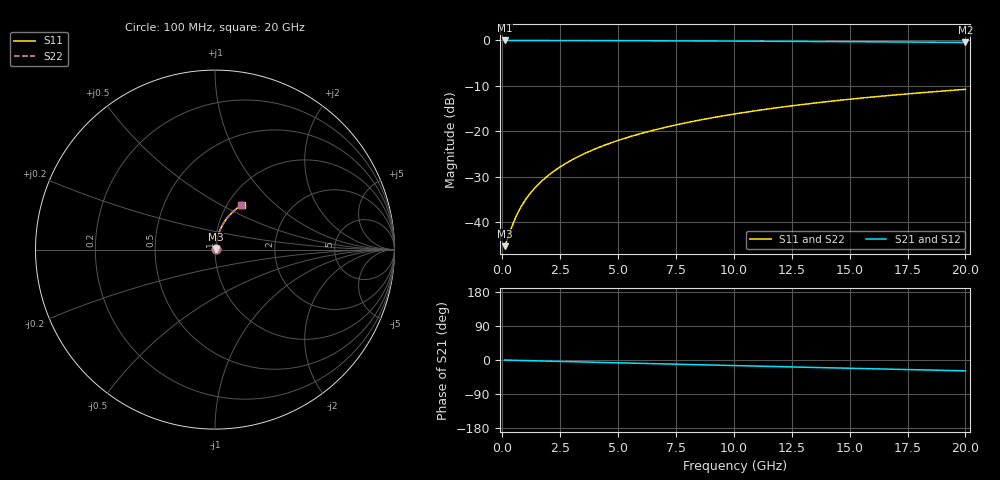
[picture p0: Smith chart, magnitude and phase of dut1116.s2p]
! Touchstone file exported from HFSS 2026.1.0
!  File:  C:/ffzhzh/LocalFiles/Ansys_Project_Files/temp_train_BSMRDL_1116_1783175057_51560.aedt
!  Generated:  10:25:30 PM Jul  4, 2026
!  Design:  BSMRDL
!  Project:  temp_train_BSMRDL_1116_1783175057_51560
! Variables:
!  h_bsmrdl = 2.12um
!  h_ox = 20um
!  h_rdl = 5um
!  h_sub = 80um
!  h_tmrdl = 5um
!  h_tsv = 80um
!  h_via = 3um
!  l_bsmrdl = 397.96um
!  l_sub = 797.96um
!  l_tmrdl = 200um
!  m_sub = 200um
!  pitch = 31.13um
!  r_tsv = 6um
!  s_tmrdl = 10um
!  w_bsmrdl = 13.5um
!  w_sub = 500um
!  w_tmrdl = 12um
!  x_tsv_center1 = 206um
!  x_tsv_center2 = 617.46um
!  x_tsv_center3 = 829.46um
!  x_tsv_center4 = 1240.92um
!  x_tsv_center5 = 1452.92um
!  x_tsv_center6 = 1864.38um
# GHz S MA R 50.000000
! Terminal data exported
! Port[1] = BSM_RDL1_1_T1
! Port[2] = BSM_RDL1_1_T2
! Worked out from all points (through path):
!   200 points, 100 MHz to 20 GHz, reference 50 ohm
!   highest |S21| = -0.04 dB at 100 MHz (marker M1); lowest = -0.5 dB at 20 GHz (marker M2)
!   group delay of S21, straight-line fit = 3.98 ps
!   lowest |S11| = -45.3 dB at 100 MHz (marker M3), VSWR 1.01, Z = 50.5 + j0.173 ohm
!   |S11| at or under -10 dB: start of sweep to end of sweep
!   |S22| runs from -45.3 to -10.8 dB; largest |S21 - S12| = 2e-15
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0.1  0.005417 18.5  0.9949 -0.2  0.9949 -0.2  0.005417 18.5
! Gamma 0 0 0 0
! Port Impedance 50 0 50 0
0.2  0.006224 33.4  0.9948 -0.3  0.9948 -0.3  0.006224 33.4
0.4  0.008674 51.4  0.9946 -0.6  0.9946 -0.6  0.008674 51.4
0.5  0.01009 56.6  0.9945 -0.8  0.9945 -0.8  0.01009 56.6
0.7  0.01303 63.3  0.9943 -1.1  0.9943 -1.1  0.01303 63.3
0.8  0.01453 65.6  0.9942 -1.2  0.9942 -1.2  0.01453 65.6
1  0.01754 68.8  0.994 -1.5  0.994 -1.5  0.01754 68.8
1.3  0.02207 72.0  0.9937 -2.0  0.9937 -2.0  0.02207 72.0
1.7  0.02815 74.5  0.9934 -2.6  0.9934 -2.6  0.02815 74.5
2.2  0.0358 76.3  0.993 -3.3  0.993 -3.3  0.0358 76.3
2.8  0.04502 77.4  0.9924 -4.2  0.9924 -4.2  0.04502 77.4
3.5  0.05582 77.8  0.9918 -5.2  0.9918 -5.2  0.05582 77.9
4.2  0.06662 77.8  0.991 -6.3  0.991 -6.3  0.06662 77.8
5  0.07893 77.4  0.9899 -7.5  0.9899 -7.5  0.07893 77.5
5.9  0.09272 76.7  0.9885 -8.8  0.9885 -8.8  0.09272 76.8
6.8  0.1064 75.9  0.9869 -10.1  0.9869 -10.1  0.1064 75.9
8.3  0.129 74.2  0.9838 -12.3  0.9838 -12.3  0.129 74.3
10.1  0.1555 72.0  0.9795 -14.9  0.9795 -14.9  0.1555 72.1
11.7  0.1786 70.0  0.9751 -17.2  0.9751 -17.2  0.1785 70.0
13.4  0.2024 67.7  0.97 -19.6  0.97 -19.6  0.2024 67.8
16.7  0.2467 63.4  0.9587 -24.2  0.9587 -24.2  0.2467 63.5
20  0.2881 59.1  0.9463 -28.6  0.9463 -28.6  0.2881 59.2
